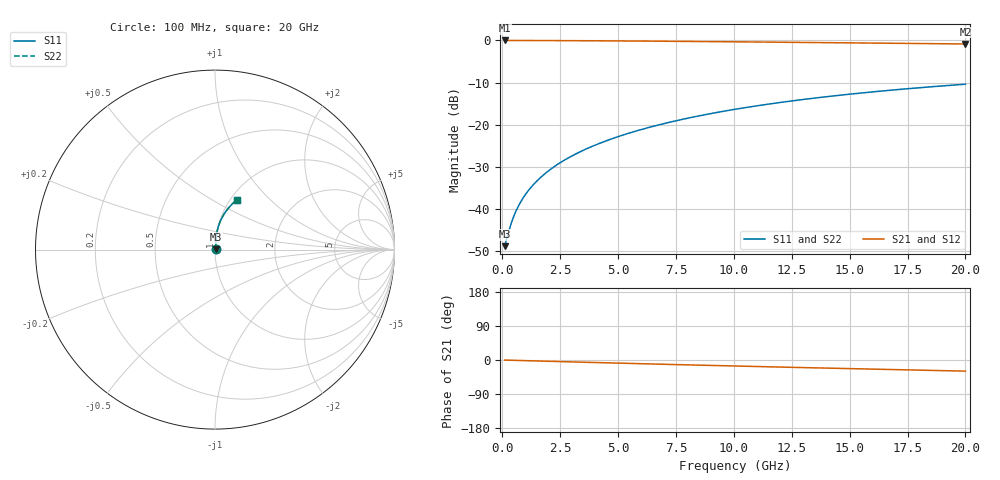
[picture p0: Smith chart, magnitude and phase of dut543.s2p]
! Touchstone file exported from HFSS 2024.1.0
!  File:  C:/UserFiles/LocalFiles/RDL_TSV_Batchsim/temp_RDL_bottom_543_1779689020.aedt
!  Generated:  02:06:25 PM May 25, 2026
!  Design:  RDL_bottom
!  Project:  temp_RDL_bottom_543_1779689020
!  Setup:  Setup1
!  Solution:  Sweep
! Variables:
!  dtsv = 10.80580581um
!  hbump = 3um
!  htsv = 91.21um
!  ldown = 373.57um
!  lrdl = 100um
!  p = 40
!  p1 = 49.88um
!  rhole = 1um
!  t = 450um
!  tdown = 2.06um
!  trdl = 3.915915916um
!  wdown = 21.88um
!  wrdl = 20um
# GHz S MA R 50.000000
! Terminal data exported
! Port[1] = RDL1_T1
! Port[2] = RDL1_T2
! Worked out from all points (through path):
!   200 points, 100 MHz to 20 GHz, reference 50 ohm
!   highest |S21| = -0.03 dB at 100 MHz (marker M1); lowest = -0.9 dB at 20 GHz (marker M2)
!   group delay of S21, straight-line fit = 4.05 ps
!   lowest |S11| = -48.8 dB at 100 MHz (marker M3), VSWR 1.01, Z = 50.3 + j0.154 ohm
!   |S11| at or under -10 dB: start of sweep to end of sweep
!   |S22| runs from -48.8 to -10.4 dB; largest |S21 - S12| = 3.3e-15
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0.1  0.003649 24.9  0.9967 -0.2  0.9967 -0.2  0.003649 24.9
! Gamma 0 0 0 0
! Port Impedance 50 0 50 0
0.3  0.005712 52.7  0.9965 -0.5  0.9965 -0.5  0.005712 52.7
0.4  0.006984 59.3  0.9964 -0.7  0.9964 -0.7  0.006984 59.3
0.5  0.008295 63.8  0.9962 -0.9  0.9962 -0.9  0.008295 63.8
0.6  0.009619 66.9  0.9961 -1.0  0.9961 -1.0  0.009619 66.9
0.7  0.01095 69.3  0.9959 -1.2  0.9959 -1.2  0.01095 69.3
0.9  0.01361 72.8  0.9956 -1.6  0.9956 -1.6  0.01361 72.8
1.2  0.01762 76.2  0.9951 -2.1  0.9951 -2.1  0.01762 76.2
1.4  0.02032 77.8  0.9948 -2.4  0.9948 -2.4  0.02032 77.8
1.7  0.0244 79.6  0.9943 -2.9  0.9943 -2.9  0.0244 79.6
2.2  0.03132 81.6  0.9933 -3.7  0.9933 -3.7  0.03132 81.6
2.8  0.03979 83.0  0.9918 -4.7  0.9918 -4.7  0.03979 83.0
3.5  0.0499 83.9  0.9898 -5.9  0.9898 -5.9  0.0499 83.9
4.2  0.06024 84.3  0.9874 -7.0  0.9874 -7.0  0.06024 84.3
5  0.07233 84.4  0.9844 -8.3  0.9844 -8.3  0.07233 84.4
6.8  0.1004 83.5  0.9766 -11.1  0.9766 -11.1  0.1004 83.5
8.4  0.126 82.0  0.9689 -13.5  0.9689 -13.5  0.126 82.0
10.1  0.1533 80.0  0.9603 -15.9  0.9603 -15.9  0.1533 80.0
11.7  0.1789 77.9  0.9519 -18.2  0.9519 -18.2  0.1789 77.9
13.4  0.2057 75.5  0.9427 -20.6  0.9427 -20.6  0.2057 75.5
16.7  0.2556 70.8  0.9243 -25.1  0.9243 -25.1  0.2556 70.8
20  0.3023 66.3  0.9053 -29.3  0.9053 -29.3  0.3023 66.2
